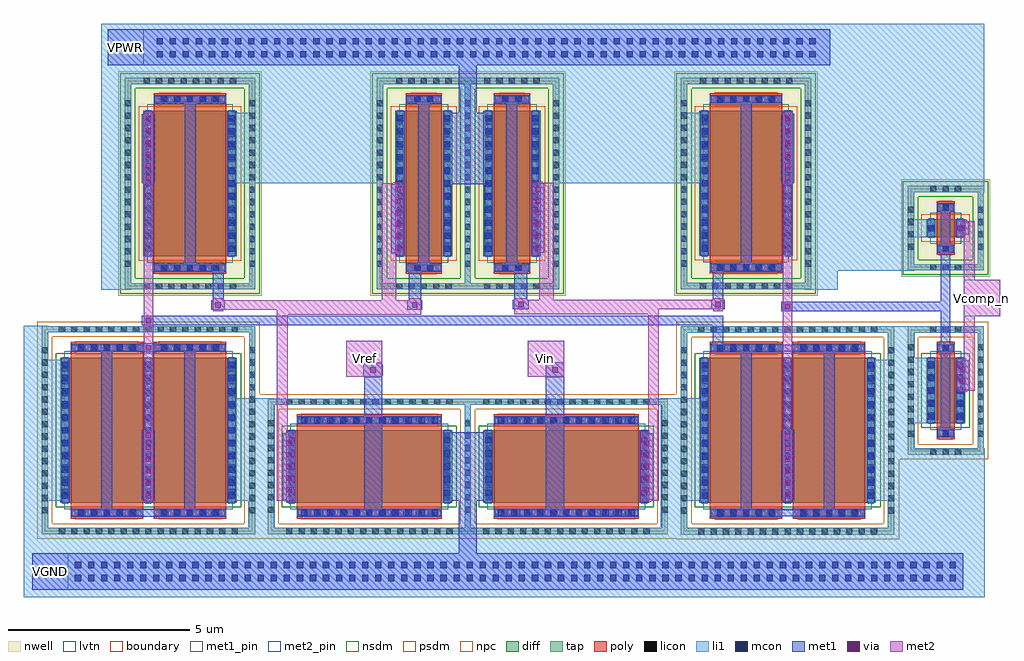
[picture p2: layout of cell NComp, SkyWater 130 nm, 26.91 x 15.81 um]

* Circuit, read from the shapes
.subckt NComp VGND VPWR Vcomp_n Vin Vref
XM1 n1 n1 VGND VGND sky130_fd_pr__nfet_01v8_lvt w=4 l=2 m=2
XM2 VGND Vref n2 VGND sky130_fd_pr__nfet_01v8_lvt w=2 l=4
XM3 n3 Vin VGND VGND sky130_fd_pr__nfet_01v8_lvt w=2 l=4
XM4 n4 n1 VGND VGND sky130_fd_pr__nfet_01v8_lvt w=4 l=2 m=2
XM5 Vcomp_n n4 VGND VGND sky130_fd_pr__nfet_01v8_lvt w=1.8 l=0.5
XM6 VPWR n2 n1 VPWR sky130_fd_pr__pfet_01v8_lvt w=4 l=2
XM7 VPWR n2 n2 VPWR sky130_fd_pr__pfet_01v8_lvt w=4 l=1
XM8 n3 n3 VPWR VPWR sky130_fd_pr__pfet_01v8_lvt w=4 l=1
XM9 n4 n3 VPWR VPWR sky130_fd_pr__pfet_01v8_lvt w=4 l=2
XM10 Vcomp_n n4 VPWR VPWR sky130_fd_pr__pfet_01v8_lvt w=0.5 l=0.5
.ends

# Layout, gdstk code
import gdstk
lib = gdstk.Library(unit=1e-6, precision=1e-09)
def R(c, l, rs):  # rectangles x0, y0, x1, y1
    for r in rs: c.add(gdstk.rectangle(r[:2], r[2:], *l))
def A(c, l, x, y, w, h, nx, ny, dx, dy):  # array of equal rectangles
    R(c, l, [(x+i*dx, y+j*dy, x+i*dx+w, y+j*dy+h) for i in range(nx) for j in range(ny)])
nwell = (64, 20)
diff = (65, 20)
tap = (65, 44)
poly = (66, 20)
licon = (66, 44)
li1 = (67, 20)
mcon = (67, 44)
met1_pin = (68, 16)
met1 = (68, 20)
via = (68, 44)
met2_pin = (69, 16)
met2 = (69, 20)
nsdm = (93, 44)
psdm = (94, 20)
npc = (95, 20)
lvtn = (125, 44)
boundary = (235, 4)

sky130_fd_pr__pfet_01v8_ = lib.new_cell('sky130_fd_pr__pfet_01v8_lvt_TZF6Y6')
R(sky130_fd_pr__pfet_01v8_, nwell, [(-1.23,-1.345,1.23,1.345)])
R(sky130_fd_pr__pfet_01v8_, diff, [(-0.54,-0.25,0.54,0.25)])
R(sky130_fd_pr__pfet_01v8_, tap, [(-1.05,-1.165,1.05,-0.995), (-1.05,-0.995,-0.88,0.995), (0.88,-0.995,1.05,0.995), (-1.05,0.995,1.05,1.165)])
R(sky130_fd_pr__pfet_01v8_, poly, [(-0.25,-0.735,0.25,0.735)])
A(sky130_fd_pr__pfet_01v8_, licon, -0.425, -1.165, 0.17, 0.17, 3, 2, 0.34, 2.16)
A(sky130_fd_pr__pfet_01v8_, licon, -1.05, -0.595, 0.17, 0.17, 1, 4, 0, 0.34)
A(sky130_fd_pr__pfet_01v8_, licon, 0.88, -0.595, 0.17, 0.17, 1, 4, 0, 0.34)
R(sky130_fd_pr__pfet_01v8_, licon, [(-0.085,-0.655,0.085,-0.485), (-0.48,-0.085,-0.31,0.085), (0.31,-0.085,0.48,0.085), (-0.085,0.485,0.085,0.655)])
R(sky130_fd_pr__pfet_01v8_, li1, [(-1.05,-1.165,1.05,-0.995), (-1.05,-0.995,-0.88,0.995), (0.88,-0.995,1.05,0.995), (-0.25,-0.655,0.25,-0.485), (-0.48,-0.27,-0.31,0.27), (0.31,-0.27,0.48,0.27), (-0.25,0.485,0.25,0.655), (-1.05,0.995,1.05,1.165)])
R(sky130_fd_pr__pfet_01v8_, mcon, [(-0.085,-0.655,0.085,-0.485), (-0.48,-0.085,-0.31,0.085), (0.31,-0.085,0.48,0.085), (-0.085,0.485,0.085,0.655)])
R(sky130_fd_pr__pfet_01v8_, met1, [(-0.23,-0.685,0.23,-0.455), (-0.51,-0.25,-0.28,0.25), (0.28,-0.25,0.51,0.25), (-0.23,0.455,0.23,0.685)])
R(sky130_fd_pr__pfet_01v8_, nsdm, [(-1.175,-1.29,1.175,-0.87), (-1.175,-0.87,-0.755,0.87), (0.755,-0.87,1.175,0.87), (-1.175,0.87,1.175,1.29)])
R(sky130_fd_pr__pfet_01v8_, psdm, [(-0.665,-0.375,0.665,0.375)])
R(sky130_fd_pr__pfet_01v8_, npc, [(-0.185,-0.755,0.185,-0.385), (-0.185,0.385,0.185,0.755)])
R(sky130_fd_pr__pfet_01v8_, lvtn, [(-0.43,-0.43,0.43,0.43)])
R(sky130_fd_pr__pfet_01v8_, boundary, [(-0.965,-1.08,0.965,1.08)])

c_sky130_fd_pr__pfet_01v8_ = lib.new_cell('sky130_fd_pr__pfet_01v8_lvt_GWB8VV')
R(c_sky130_fd_pr__pfet_01v8_, nwell, [(-1.98,-3.095,1.98,3.095)])
R(c_sky130_fd_pr__pfet_01v8_, diff, [(-1.29,-2,1.29,2)])
R(c_sky130_fd_pr__pfet_01v8_, tap, [(-1.8,-2.915,1.8,-2.745), (-1.8,-2.745,-1.63,2.745), (1.63,-2.745,1.8,2.745), (-1.8,2.745,1.8,2.915)])
R(c_sky130_fd_pr__pfet_01v8_, poly, [(-1,-2.485,1,2.485)])
A(c_sky130_fd_pr__pfet_01v8_, licon, -1.275, -2.915, 0.17, 0.17, 8, 2, 0.34, 5.66)
A(c_sky130_fd_pr__pfet_01v8_, licon, -0.765, -2.405, 0.17, 0.17, 5, 2, 0.34, 4.64)
A(c_sky130_fd_pr__pfet_01v8_, licon, -1.8, -2.295, 0.17, 0.17, 1, 14, 0, 0.34)
A(c_sky130_fd_pr__pfet_01v8_, licon, 1.63, -2.295, 0.17, 0.17, 1, 14, 0, 0.34)
A(c_sky130_fd_pr__pfet_01v8_, licon, -1.23, -1.785, 0.17, 0.17, 1, 11, 0, 0.34)
A(c_sky130_fd_pr__pfet_01v8_, licon, 1.06, -1.785, 0.17, 0.17, 1, 11, 0, 0.34)
R(c_sky130_fd_pr__pfet_01v8_, li1, [(-1.8,-2.915,1.8,-2.745), (-1.8,-2.745,-1.63,2.745), (1.63,-2.745,1.8,2.745), (-1,-2.405,1,-2.235), (-1.23,-2.02,-1.06,2.02), (1.06,-2.02,1.23,2.02), (-1,2.235,1,2.405), (-1.8,2.745,1.8,2.915)])
A(c_sky130_fd_pr__pfet_01v8_, mcon, -0.805, -2.405, 0.17, 0.17, 5, 2, 0.36, 4.64)
A(c_sky130_fd_pr__pfet_01v8_, mcon, -1.23, -1.885, 0.17, 0.17, 1, 11, 0, 0.36)
A(c_sky130_fd_pr__pfet_01v8_, mcon, 1.06, -1.885, 0.17, 0.17, 1, 11, 0, 0.36)
R(c_sky130_fd_pr__pfet_01v8_, met1, [(-0.98,-2.435,0.98,-2.205), (-1.26,-2,-1.03,2), (1.03,-2,1.26,2), (-0.98,2.205,0.98,2.435)])
R(c_sky130_fd_pr__pfet_01v8_, nsdm, [(-1.925,-3.04,1.925,-2.62), (-1.925,-2.62,-1.505,2.62), (1.505,-2.62,1.925,2.62), (-1.925,2.62,1.925,3.04)])
R(c_sky130_fd_pr__pfet_01v8_, psdm, [(-1.415,-2.125,1.415,2.125)])
R(c_sky130_fd_pr__pfet_01v8_, npc, [(-0.865,-2.505,0.865,-2.135), (-0.865,2.135,0.865,2.505)])
R(c_sky130_fd_pr__pfet_01v8_, lvtn, [(-1.18,-2.18,1.18,2.18)])
R(c_sky130_fd_pr__pfet_01v8_, boundary, [(-1.715,-2.83,1.715,2.83)])

c_sky130_fd_pr__pfet_01v8__ = lib.new_cell('sky130_fd_pr__pfet_01v8_lvt_3VA8VM')
R(c_sky130_fd_pr__pfet_01v8__, nwell, [(-1.48,-3.095,1.48,3.095)])
R(c_sky130_fd_pr__pfet_01v8__, diff, [(-0.79,-2,0.79,2)])
R(c_sky130_fd_pr__pfet_01v8__, tap, [(-1.3,-2.915,1.3,-2.745), (-1.3,-2.745,-1.13,2.745), (1.13,-2.745,1.3,2.745), (-1.3,2.745,1.3,2.915)])
R(c_sky130_fd_pr__pfet_01v8__, poly, [(-0.5,-2.485,0.5,2.485)])
A(c_sky130_fd_pr__pfet_01v8__, licon, -0.765, -2.915, 0.17, 0.17, 5, 2, 0.34, 5.66)
A(c_sky130_fd_pr__pfet_01v8__, licon, -1.3, -2.295, 0.17, 0.17, 1, 14, 0, 0.34)
A(c_sky130_fd_pr__pfet_01v8__, licon, 1.13, -2.295, 0.17, 0.17, 1, 14, 0, 0.34)
A(c_sky130_fd_pr__pfet_01v8__, licon, -0.73, -1.785, 0.17, 0.17, 1, 11, 0, 0.34)
A(c_sky130_fd_pr__pfet_01v8__, licon, 0.56, -1.785, 0.17, 0.17, 1, 11, 0, 0.34)
R(c_sky130_fd_pr__pfet_01v8__, licon, [(-0.255,-2.405,-0.085,-2.235), (0.085,-2.405,0.255,-2.235), (-0.255,2.235,-0.085,2.405), (0.085,2.235,0.255,2.405)])
R(c_sky130_fd_pr__pfet_01v8__, li1, [(-1.3,-2.915,1.3,-2.745), (-1.3,-2.745,-1.13,2.745), (1.13,-2.745,1.3,2.745), (-0.5,-2.405,0.5,-2.235), (-0.73,-2.02,-0.56,2.02), (0.56,-2.02,0.73,2.02), (-0.5,2.235,0.5,2.405), (-1.3,2.745,1.3,2.915)])
A(c_sky130_fd_pr__pfet_01v8__, mcon, -0.73, -1.885, 0.17, 0.17, 1, 11, 0, 0.36)
A(c_sky130_fd_pr__pfet_01v8__, mcon, 0.56, -1.885, 0.17, 0.17, 1, 11, 0, 0.36)
R(c_sky130_fd_pr__pfet_01v8__, mcon, [(-0.265,-2.405,-0.095,-2.235), (0.095,-2.405,0.265,-2.235), (-0.265,2.235,-0.095,2.405), (0.095,2.235,0.265,2.405)])
R(c_sky130_fd_pr__pfet_01v8__, met1, [(-0.48,-2.435,0.48,-2.205), (-0.76,-2,-0.53,2), (0.53,-2,0.76,2), (-0.48,2.205,0.48,2.435)])
R(c_sky130_fd_pr__pfet_01v8__, nsdm, [(-1.425,-3.04,1.425,-2.62), (-1.425,-2.62,-1.005,2.62), (1.005,-2.62,1.425,2.62), (-1.425,2.62,1.425,3.04)])
R(c_sky130_fd_pr__pfet_01v8__, psdm, [(-0.915,-2.125,0.915,2.125)])
R(c_sky130_fd_pr__pfet_01v8__, npc, [(-0.355,-2.505,0.355,-2.135), (-0.355,2.135,0.355,2.505)])
R(c_sky130_fd_pr__pfet_01v8__, lvtn, [(-0.68,-2.18,0.68,2.18)])
R(c_sky130_fd_pr__pfet_01v8__, boundary, [(-1.215,-2.83,1.215,2.83)])

sky130_fd_pr__nfet_01v8_ = lib.new_cell('sky130_fd_pr__nfet_01v8_lvt_FMZK9W')
R(sky130_fd_pr__nfet_01v8_, diff, [(-2.29,-1,2.29,1)])
R(sky130_fd_pr__nfet_01v8_, tap, [(-2.8,-1.87,2.8,-1.7), (-2.8,-1.7,-2.63,1.7), (2.63,-1.7,2.8,1.7), (-2.8,1.7,2.8,1.87)])
R(sky130_fd_pr__nfet_01v8_, poly, [(-2,-1.44,2,1.44)])
A(sky130_fd_pr__nfet_01v8_, licon, -2.295, -1.87, 0.17, 0.17, 14, 2, 0.34, 3.57)
A(sky130_fd_pr__nfet_01v8_, licon, -1.785, -1.36, 0.17, 0.17, 11, 2, 0.34, 2.55)
A(sky130_fd_pr__nfet_01v8_, licon, -2.8, -1.275, 0.17, 0.17, 1, 8, 0, 0.34)
A(sky130_fd_pr__nfet_01v8_, licon, 2.63, -1.275, 0.17, 0.17, 1, 8, 0, 0.34)
A(sky130_fd_pr__nfet_01v8_, licon, -2.23, -0.935, 0.17, 0.17, 1, 6, 0, 0.34)
A(sky130_fd_pr__nfet_01v8_, licon, 2.06, -0.935, 0.17, 0.17, 1, 6, 0, 0.34)
R(sky130_fd_pr__nfet_01v8_, li1, [(-2.8,-1.87,2.8,-1.7), (-2.8,-1.7,-2.63,1.7), (2.63,-1.7,2.8,1.7), (-2,-1.36,2,-1.19), (-2.23,-1.02,-2.06,1.02), (2.06,-1.02,2.23,1.02), (-2,1.19,2,1.36), (-2.8,1.7,2.8,1.87)])
A(sky130_fd_pr__nfet_01v8_, mcon, -1.885, -1.36, 0.17, 0.17, 11, 2, 0.36, 2.55)
A(sky130_fd_pr__nfet_01v8_, mcon, -2.23, -0.805, 0.17, 0.17, 1, 5, 0, 0.36)
A(sky130_fd_pr__nfet_01v8_, mcon, 2.06, -0.805, 0.17, 0.17, 1, 5, 0, 0.36)
R(sky130_fd_pr__nfet_01v8_, met1, [(-1.98,-1.39,1.98,-1.16), (-2.26,-1,-2.03,1), (2.03,-1,2.26,1), (-1.98,1.16,1.98,1.39)])
R(sky130_fd_pr__nfet_01v8_, nsdm, [(-2.415,-1.125,2.415,1.125)])
R(sky130_fd_pr__nfet_01v8_, psdm, [(-2.925,-1.995,2.925,-1.575), (-2.925,-1.575,-2.505,1.575), (2.505,-1.575,2.925,1.575), (-2.925,1.575,2.925,1.995)])
R(sky130_fd_pr__nfet_01v8_, npc, [(-1.885,-1.46,1.885,-1.09), (-1.885,1.09,1.885,1.46)])
R(sky130_fd_pr__nfet_01v8_, lvtn, [(-2.18,-1.18,2.18,1.18)])
R(sky130_fd_pr__nfet_01v8_, boundary, [(-2.71,-1.78,2.71,1.78)])

c_sky130_fd_pr__nfet_01v8_ = lib.new_cell('sky130_fd_pr__nfet_01v8_lvt_PVEEJN')
R(c_sky130_fd_pr__nfet_01v8_, diff, [(-0.54,-0.9,0.54,0.9)])
R(c_sky130_fd_pr__nfet_01v8_, tap, [(-1.05,-1.77,1.05,-1.6), (-1.05,-1.6,-0.88,1.6), (0.88,-1.6,1.05,1.6), (-1.05,1.6,1.05,1.77)])
R(c_sky130_fd_pr__nfet_01v8_, poly, [(-0.25,-1.34,0.25,1.34)])
A(c_sky130_fd_pr__nfet_01v8_, licon, -0.425, -1.77, 0.17, 0.17, 3, 2, 0.34, 3.37)
A(c_sky130_fd_pr__nfet_01v8_, licon, -1.05, -1.275, 0.17, 0.17, 1, 8, 0, 0.34)
A(c_sky130_fd_pr__nfet_01v8_, licon, 0.88, -1.275, 0.17, 0.17, 1, 8, 0, 0.34)
A(c_sky130_fd_pr__nfet_01v8_, licon, -0.48, -0.765, 0.17, 0.17, 1, 5, 0, 0.34)
A(c_sky130_fd_pr__nfet_01v8_, licon, 0.31, -0.765, 0.17, 0.17, 1, 5, 0, 0.34)
R(c_sky130_fd_pr__nfet_01v8_, licon, [(-0.085,-1.26,0.085,-1.09), (-0.085,1.09,0.085,1.26)])
R(c_sky130_fd_pr__nfet_01v8_, li1, [(-1.05,-1.77,1.05,-1.6), (-1.05,-1.6,-0.88,1.6), (0.88,-1.6,1.05,1.6), (-0.25,-1.26,0.25,-1.09), (-0.48,-0.92,-0.31,0.92), (0.31,-0.92,0.48,0.92), (-0.25,1.09,0.25,1.26), (-1.05,1.6,1.05,1.77)])
A(c_sky130_fd_pr__nfet_01v8_, mcon, -0.48, -0.805, 0.17, 0.17, 1, 5, 0, 0.36)
A(c_sky130_fd_pr__nfet_01v8_, mcon, 0.31, -0.805, 0.17, 0.17, 1, 5, 0, 0.36)
R(c_sky130_fd_pr__nfet_01v8_, mcon, [(-0.085,-1.26,0.085,-1.09), (-0.085,1.09,0.085,1.26)])
R(c_sky130_fd_pr__nfet_01v8_, met1, [(-0.23,-1.29,0.23,-1.06), (-0.51,-0.9,-0.28,0.9), (0.28,-0.9,0.51,0.9), (-0.23,1.06,0.23,1.29)])
R(c_sky130_fd_pr__nfet_01v8_, nsdm, [(-0.665,-1.025,0.665,1.025)])
R(c_sky130_fd_pr__nfet_01v8_, psdm, [(-1.175,-1.895,1.175,-1.475), (-1.175,-1.475,-0.755,1.475), (0.755,-1.475,1.175,1.475), (-1.175,1.475,1.175,1.895)])
R(c_sky130_fd_pr__nfet_01v8_, npc, [(-0.185,-1.36,0.185,-0.99), (-0.185,0.99,0.185,1.36)])
R(c_sky130_fd_pr__nfet_01v8_, lvtn, [(-0.43,-1.08,0.43,1.08)])
R(c_sky130_fd_pr__nfet_01v8_, boundary, [(-0.96,-1.68,0.96,1.68)])

c_sky130_fd_pr__nfet_01v8__ = lib.new_cell('sky130_fd_pr__nfet_01v8_lvt_VWWV9N')
R(c_sky130_fd_pr__nfet_01v8__, diff, [(-2.435,-2,2.435,2)])
R(c_sky130_fd_pr__nfet_01v8__, tap, [(-2.945,-2.87,2.945,-2.7), (-2.945,-2.7,-2.775,2.7), (2.775,-2.7,2.945,2.7), (-2.945,2.7,2.945,2.87)])
R(c_sky130_fd_pr__nfet_01v8__, poly, [(-2.145,-2.44,-0.145,2.44), (0.145,-2.44,2.145,2.44)])
A(c_sky130_fd_pr__nfet_01v8__, licon, -2.465, -2.87, 0.17, 0.17, 15, 2, 0.34, 5.57)
A(c_sky130_fd_pr__nfet_01v8__, licon, -1.91, -2.36, 0.17, 0.17, 5, 2, 0.34, 4.55)
A(c_sky130_fd_pr__nfet_01v8__, licon, 0.38, -2.36, 0.17, 0.17, 5, 2, 0.34, 4.55)
A(c_sky130_fd_pr__nfet_01v8__, licon, -2.945, -2.295, 0.17, 0.17, 1, 14, 0, 0.34)
A(c_sky130_fd_pr__nfet_01v8__, licon, 2.775, -2.295, 0.17, 0.17, 1, 14, 0, 0.34)
A(c_sky130_fd_pr__nfet_01v8__, licon, -2.375, -1.785, 0.17, 0.17, 3, 11, 2.29, 0.34)
A(c_sky130_fd_pr__nfet_01v8__, li1, -2.375, -2.02, 0.17, 4.04, 3, 1, 2.29, 0)
R(c_sky130_fd_pr__nfet_01v8__, li1, [(-2.945,-2.87,2.945,-2.7), (-2.945,-2.7,-2.775,2.7), (2.775,-2.7,2.945,2.7), (-2.145,-2.36,-0.145,-2.19), (0.145,-2.36,2.145,-2.19), (-2.145,2.19,-0.145,2.36), (0.145,2.19,2.145,2.36), (-2.945,2.7,2.945,2.87)])
A(c_sky130_fd_pr__nfet_01v8__, mcon, -1.95, -2.36, 0.17, 0.17, 5, 2, 0.36, 4.55)
A(c_sky130_fd_pr__nfet_01v8__, mcon, 0.34, -2.36, 0.17, 0.17, 5, 2, 0.36, 4.55)
A(c_sky130_fd_pr__nfet_01v8__, mcon, -2.375, -1.885, 0.17, 0.17, 3, 11, 2.29, 0.36)
A(c_sky130_fd_pr__nfet_01v8__, met1, -2.405, -2, 0.23, 4, 3, 1, 2.29, 0)
R(c_sky130_fd_pr__nfet_01v8__, met1, [(-2.125,-2.39,-0.165,-2.16), (0.165,-2.39,2.125,-2.16), (-2.125,2.16,-0.165,2.39), (0.165,2.16,2.125,2.39)])
R(c_sky130_fd_pr__nfet_01v8__, nsdm, [(-2.56,-2.125,2.56,2.125)])
R(c_sky130_fd_pr__nfet_01v8__, psdm, [(-3.07,-2.995,3.07,-2.575), (-3.07,-2.575,-2.65,2.575), (2.65,-2.575,3.07,2.575), (-3.07,2.575,3.07,2.995)])
R(c_sky130_fd_pr__nfet_01v8__, npc, [(-2.01,-2.46,-0.28,-2.09), (0.28,-2.46,2.01,-2.09), (-2.01,2.09,-0.28,2.46), (0.28,2.09,2.01,2.46)])
R(c_sky130_fd_pr__nfet_01v8__, lvtn, [(-2.325,-2.18,2.325,2.18)])
R(c_sky130_fd_pr__nfet_01v8__, boundary, [(-2.86,-2.785,2.86,2.785)])

ncomp = lib.new_cell('NComp')
R(ncomp, li1, [(-1.495,-16.405,25.005,-15.895), (-1.495,-15.895,25,-14.485), (-1.495,-14.485,-0.825,-13.745), (4.69,-14.485,5.42,-13.745), (16.07,-14.485,16.8,-13.75), (22.325,-14.485,25,-13.75), (16.07,-13.75,17.365,-10.915), (21.765,-13.75,25,-12.29), (-1.495,-13.745,-0.265,-9.855), (4.135,-13.745,5.42,-10.915), (21.765,-12.29,23.065,-11.605), (21.765,-11.605,23.64,-9.86), (22.32,-9.86,23.64,-9.805), (-1.495,-9.855,-0.825,-8.92), (22.32,-9.805,23.065,-8.925), (0.63,-7.92,1.465,-2.265), (20.04,-7.92,20.95,-7.4), (20.04,-7.4,23.055,-6.475), (20.04,-6.475,23.64,-5.975), (20.04,-5.975,23.055,-5.235), (20.04,-5.235,24.98,-2.265), (4.135,-4.995,8.41,-3.05), (13.08,-4.995,17.37,-3.045), (4.705,-3.05,8.41,-2.265), (13.08,-3.045,16.8,-2.265), (0.63,-2.265,24.98,-0.59)])
A(ncomp, mcon, -0.09, -15.96, 0.17, 0.17, 68, 2, 0.36, 0.36)
A(ncomp, mcon, 2.165, -1.52, 0.17, 0.17, 51, 2, 0.36, 0.36)
R(ncomp, met1_pin, [(-1.27,-16.195,-0.27,-15.195), (0.81,-1.74,1.81,-0.74)])
R(ncomp, met1, [(-1.27,-16.195,24.41,-15.195), (10.495,-15.195,10.995,-13.745), (1.765,-14.19,2.11,-14.165), (17.495,-14.17,21.635,-13.99), (-0.135,-14.165,4.01,-13.985), (7.885,-14.165,8.385,-10.29), (12.9,-14.165,13.4,-10.285), (18.27,-13.99,18.57,-9.62), (20.56,-13.99,20.86,-9.62), (0.64,-13.985,0.94,-9.61), (2.93,-13.985,3.23,-9.525), (10.085,-13.745,11.405,-11.855), (19.385,-13.72,19.745,-11.805), (15.495,-13.715,15.855,-11.88), (5.635,-13.71,5.995,-11.88), (1.755,-13.705,2.115,-11.795), (23.79,-11.795,24.05,-8.515), (24.21,-10.695,24.57,-9.875), (7.865,-10.29,8.405,-9.99), (12.89,-10.285,13.405,-9.985), (7.885,-9.99,8.385,-9.935), (12.9,-9.985,13.4,-9.925), (1.71,-9.655,2.16,-9.395), (17.495,-9.62,21.635,-9.44), (17.495,-9.44,17.795,-8.9), (1.755,-8.9,17.795,-8.64), (19.385,-8.515,24.05,-8.255), (3.675,-8.47,4.045,-8.21), (9.075,-8.47,9.49,-8.21), (11.99,-8.465,12.42,-8.205), (17.46,-8.465,17.83,-8.205), (23.79,-8.255,24.05,-5.74), (3.71,-8.21,4.01,-7.225), (9.11,-8.21,9.46,-7.23), (12.025,-8.205,12.385,-7.235), (17.495,-8.205,17.795,-7.225), (11.81,-7.235,12.385,-7.225), (9.11,-7.23,9.68,-7.225), (18.27,-7.23,18.57,-2.74), (9.38,-7.225,9.68,-2.74), (11.81,-7.225,12.11,-2.745), (2.935,-7.2,3.235,-2.71), (8.635,-6.915,8.995,-5.01), (12.495,-6.91,12.855,-4.995), (24.2,-6.41,24.56,-6.04), (10.07,-5.015,11.415,-3.045), (1.755,-4.99,2.115,-3.08), (19.385,-4.985,19.745,-3.07), (10.495,-3.045,10.995,-1.74), (0.81,-1.74,20.735,-0.74)])
A(ncomp, via, 19.49, -13.64, 0.15, 0.15, 1, 6, 0, 0.32)
A(ncomp, via, 1.86, -13.625, 0.15, 0.15, 1, 6, 0, 0.32)
A(ncomp, via, 15.6, -13.515, 0.15, 0.15, 1, 5, 0, 0.32)
A(ncomp, via, 5.74, -13.51, 0.15, 0.15, 1, 5, 0, 0.32)
A(ncomp, via, 8.74, -6.84, 0.15, 0.15, 1, 6, 0, 0.32)
A(ncomp, via, 12.6, -6.83, 0.15, 0.15, 1, 6, 0, 0.32)
A(ncomp, via, 1.86, -4.91, 0.15, 0.15, 1, 6, 0, 0.32)
A(ncomp, via, 19.49, -4.905, 0.15, 0.15, 1, 6, 0, 0.32)
R(ncomp, via, [(24.315,-10.52,24.465,-10.37), (8.06,-10.215,8.21,-10.065), (13.07,-10.21,13.22,-10.06), (24.315,-10.2,24.465,-10.05), (1.86,-9.6,2.01,-9.45), (1.86,-8.845,2.01,-8.695), (19.49,-8.46,19.64,-8.31), (3.785,-8.415,3.935,-8.265), (9.205,-8.415,9.355,-8.265), (12.13,-8.41,12.28,-8.26), (17.57,-8.41,17.72,-8.26), (24.305,-6.3,24.455,-6.15)])
R(ncomp, met2_pin, [(7.385,-10.325,8.385,-9.325), (12.4,-10.325,13.4,-9.325), (24.42,-8.655,25.42,-7.655)])
R(ncomp, met2, [(19.435,-13.77,19.695,-3.02), (15.545,-13.765,15.805,-13.745), (5.685,-13.76,5.945,-13.75), (1.805,-13.755,2.065,-3.03), (5.48,-13.75,5.98,-11.85), (15.515,-13.745,16.015,-11.855), (15.545,-11.855,16.015,-11.83), (5.475,-11.85,5.945,-11.83), (5.475,-11.83,5.775,-8.61), (15.715,-11.83,16.015,-8.605), (24.26,-10.745,24.52,-10.71), (24.225,-10.71,24.725,-9.86), (7.915,-10.34,8.355,-10.325), (12.94,-10.335,13.355,-10.325), (7.385,-10.325,8.385,-9.325), (12.4,-10.325,13.4,-9.325), (24.26,-9.86,24.725,-9.825), (24.425,-9.825,24.725,-8.655), (24.42,-8.655,25.42,-7.655), (5.475,-8.61,9.46,-8.47), (12.025,-8.605,16.015,-8.465), (3.725,-8.52,3.995,-8.47), (17.51,-8.515,17.78,-8.465), (3.71,-8.47,9.46,-8.21), (12.025,-8.465,17.795,-8.205), (3.725,-8.21,3.995,-8.16), (8.375,-8.21,8.775,-6.965), (9.125,-8.21,9.44,-8.16), (12.04,-8.205,12.37,-8.155), (12.715,-8.205,13.115,-6.96), (17.51,-8.205,17.78,-8.155), (24.425,-7.655,24.725,-6.46), (8.375,-6.965,8.945,-6.94), (12.545,-6.96,13.115,-6.94), (8.375,-6.94,8.975,-4.985), (12.515,-6.94,13.115,-4.975), (24.25,-6.46,24.725,-6.42), (24.225,-6.42,24.725,-6.03), (24.25,-6.03,24.51,-5.99), (8.685,-4.985,8.945,-4.96), (12.545,-4.975,12.805,-4.945)])
R(ncomp, psdm, [(5.005,-14.795,5.105,-10.805), (16.385,-14.795,16.495,-10.805), (22.635,-12.6,22.745,-8.81)])
ncomp.add(gdstk.Reference(sky130_fd_pr__pfet_01v8_, (23.92,-6.225)))
ncomp.add(gdstk.Reference(c_sky130_fd_pr__pfet_01v8_, (18.42,-4.99)))
ncomp.add(gdstk.Reference(c_sky130_fd_pr__pfet_01v8__, (9.53,-4.995)))
ncomp.add(gdstk.Reference(sky130_fd_pr__nfet_01v8_, (13.46,-12.8)))
ncomp.add(gdstk.Reference(c_sky130_fd_pr__pfet_01v8__, (11.96,-4.995)))
ncomp.add(gdstk.Reference(c_sky130_fd_pr__pfet_01v8_, (3.08,-4.995)))
ncomp.add(gdstk.Reference(c_sky130_fd_pr__nfet_01v8_, (23.92,-10.705)))
ncomp.add(gdstk.Reference(c_sky130_fd_pr__nfet_01v8__, (19.565,-11.805)))
ncomp.add(gdstk.Reference(c_sky130_fd_pr__nfet_01v8__, (1.935,-11.8)))
ncomp.add(gdstk.Reference(sky130_fd_pr__nfet_01v8_, (8.03,-12.8)))
ncomp.add(gdstk.Label('VGND', (-0.77,-15.695), layer=68, texttype=5))
ncomp.add(gdstk.Label('VPWR', (1.31,-1.24), layer=68, texttype=5))
ncomp.add(gdstk.Label('Vcomp_n', (24.92,-8.155), layer=69, texttype=5))
ncomp.add(gdstk.Label('Vin', (12.9,-9.825), layer=69, texttype=5))
ncomp.add(gdstk.Label('Vref', (7.885,-9.825), layer=69, texttype=5))

lib.write_gds('NComp.gds')
